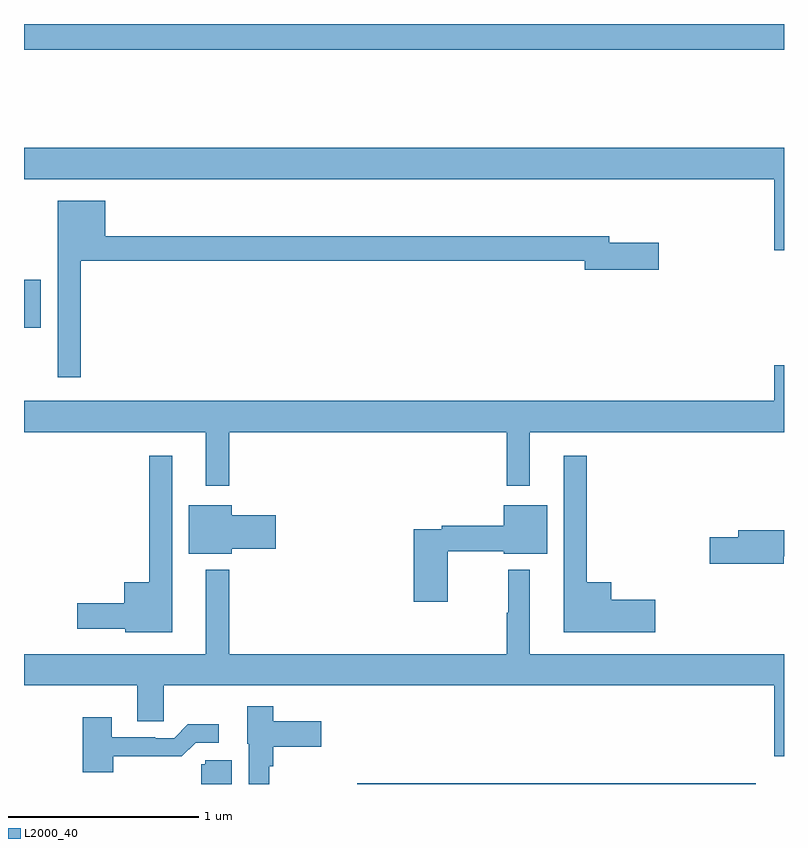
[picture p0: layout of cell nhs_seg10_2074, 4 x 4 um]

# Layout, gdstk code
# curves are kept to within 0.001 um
import gdstk
lib = gdstk.Library(unit=1e-6, precision=1e-09)
def R(c, l, rs):  # rectangles x0, y0, x1, y1
    for r in rs: c.add(gdstk.rectangle(r[:2], r[2:], *l))
def P(c, l, *ps):  # polygons
    for p in ps: c.add(gdstk.Polygon(p, *l))
L2000_40 = (2000, 40)

nhs_seg10_2074 = lib.new_cell('nhs_seg10_2074')
R(nhs_seg10_2074, L2000_40, [(222.754,1262.5,224.852,1262.504), (221,1264.901,221.089,1265.155), (221,1266.364,225,1266.5)])
P(nhs_seg10_2074, L2000_40, [(225,1265.848),(221,1265.848),(221,1265.684),(224.948,1265.684),(224.948,1265.31),(225,1265.31)],
  [(221.299,1265.254),(223.952,1265.254),(223.952,1265.207),(224.341,1265.207),(224.341,1265.349),(224.08,1265.349),(224.08,1265.383),(221.428,1265.383),(221.428,1265.569),(221.177,1265.569),(221.177,1264.641),(221.299,1264.641)],
  [(222.079,1264.352),(223.542,1264.352),(223.542,1264.071),(223.663,1264.071),(223.663,1264.352),(225,1264.352),(225,1264.705),(224.948,1264.705),(224.948,1264.516),(221,1264.516),(221,1264.352),(221.957,1264.352),(221.957,1264.071),(222.079,1264.071)],
  [(224.323,1263.47),(224.092,1263.47),(224.092,1263.562),(223.963,1263.562),(223.963,1264.228),(223.841,1264.228),(223.841,1263.299),(224.323,1263.299)],
  [(221.779,1264.228),(221.658,1264.228),(221.658,1263.562),(221.528,1263.562),(221.528,1263.452),(221.28,1263.452),(221.28,1263.317),(221.532,1263.317),(221.532,1263.299),(221.779,1263.299)],
  [(222.094,1263.737),(222.325,1263.737),(222.325,1263.915),(222.094,1263.915),(222.094,1263.967),(221.867,1263.967),(221.867,1263.713),(222.094,1263.713)],
  [(223.23,1263.724),(223.526,1263.724),(223.526,1263.713),(223.753,1263.713),(223.753,1263.967),(223.526,1263.967),(223.526,1263.86),(223.198,1263.86),(223.198,1263.84),(223.052,1263.84),(223.052,1263.459),(223.23,1263.459)],
  [(224.998,1263.7),(225,1263.7),(225,1263.836),(224.759,1263.836),(224.759,1263.8),(224.61,1263.8),(224.61,1263.658),(224.998,1263.658)],
  [(225,1263.184),(223.663,1263.184),(223.663,1263.628),(223.549,1263.628),(223.549,1263.401),(223.542,1263.401),(223.542,1263.184),(222.079,1263.184),(222.079,1263.628),(221.957,1263.628),(221.957,1263.184),(221,1263.184),(221,1263.02),(221.597,1263.02),(221.597,1262.83),(221.736,1262.83),(221.736,1263.02),(224.948,1263.02),(224.948,1262.646),(225,1262.646)],
  [(222.292,1262.594),(222.312,1262.594),(222.312,1262.696),(222.565,1262.696),(222.565,1262.83),(222.312,1262.83),(222.312,1262.908),(222.176,1262.908),(222.176,1262.712),(222.183,1262.712),(222.183,1262.5),(222.292,1262.5)],
  [(221.469,1262.646),(221.831,1262.645),(221.904,1262.718),(222.025,1262.718),(222.025,1262.815),(221.863,1262.815),(221.79,1262.742),(221.69,1262.742),(221.69,1262.745),(221.461,1262.745),(221.461,1262.851),(221.309,1262.851),(221.309,1262.561),(221.469,1262.561)],
  [(222.094,1262.625),(221.955,1262.625),(221.955,1262.604),(221.933,1262.604),(221.933,1262.5),(222.094,1262.5)])

lib.write_gds('nhs_seg10_2074.gds')
